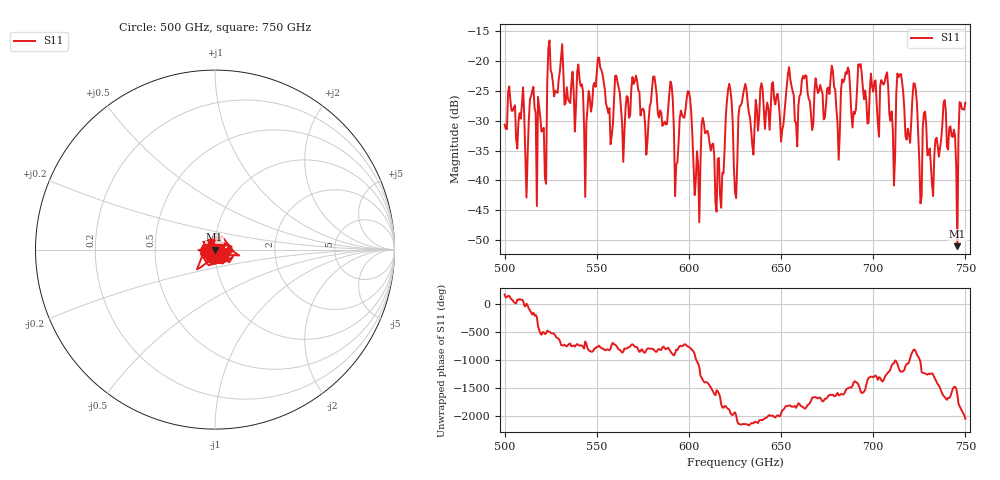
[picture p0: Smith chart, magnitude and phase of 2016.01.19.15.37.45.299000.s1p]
!Created with skrf (http://scikit-rf.org).
# GHz S RI R 50.0
!freq ReS11 ImS11
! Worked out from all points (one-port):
!   401 points, 500 GHz to 750 GHz, reference 50 ohm
!   lowest |S11| = -51.0 dB at 745.6 GHz (marker M1), VSWR 1.01, Z = 49.7 - j0.0689 ohm
!   |S11| at or under -10 dB: start of sweep to end of sweep
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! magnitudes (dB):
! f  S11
! 500 GHz  -30.6
! 511.9 GHz  -42.9
! 515 GHz  -25.0
! 521.2 GHz  -31.2
! 524.4 GHz  -16.5
! 531.2 GHz  -17.1
! 543.8 GHz  -42.8
! 551.2 GHz  -19.4
! 562.5 GHz  -25.3
! 590 GHz  -23.4
! 593.8 GHz  -37.0
! 600 GHz  -25.1
! 604.4 GHz  -35.1
! 608.1 GHz  -30.4
! 616.2 GHz  -36.2
! 621.9 GHz  -23.8
! 625 GHz  -41.9
! 630 GHz  -24.6
! 656.2 GHz  -25.0
! 687.5 GHz  -24.8
! 706.9 GHz  -22.4
! 710.6 GHz  -31.4
! 714.4 GHz  -22.3
! 718.8 GHz  -31.3
! 722.5 GHz  -23.8
! 725.6 GHz  -43.8
! 745.6 GHz  -51.0
! 750 GHz  -27.0
